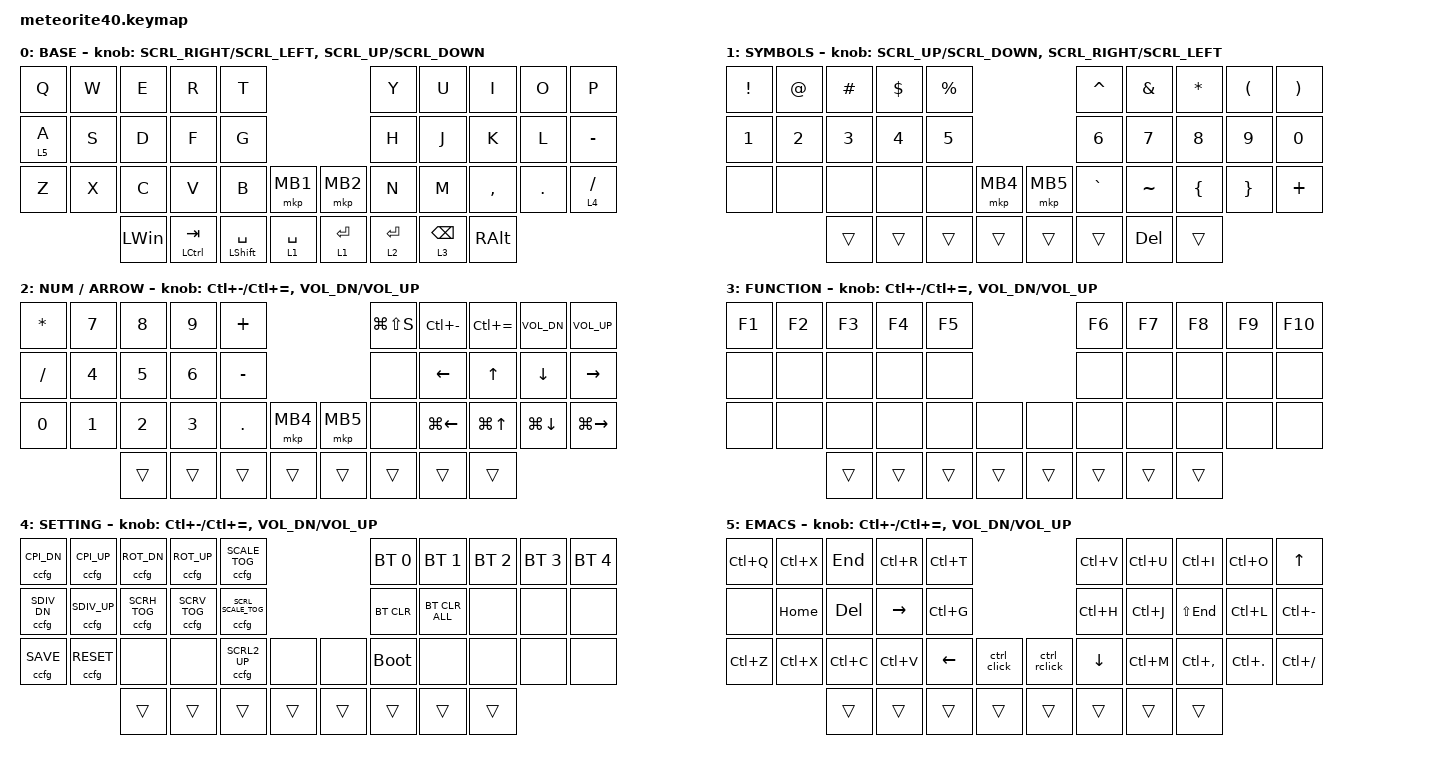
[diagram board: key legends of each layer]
#include <behaviors.dtsi>
#include <dt-bindings/zmk/bt.h>
#include <dt-bindings/zmk/keys.h>

#include <behaviors/meteorite_custom_key.dtsi>
#include <behaviors/custom_config.dtsi>
#include <behaviors/meteorite_bt_os.dtsi>
#include <behaviors/meteorite_mod_key.dtsi>
#include <behaviors/meteorite_os_key.dtsi>
#include <dt-bindings/zmk/custom_config.h>
#include <dt-bindings/zmk/meteorite_custom_keys.h>
#include <dt-bindings/zmk/meteorite_bt_os.h>

#define ZMK_POINTING_DEFAULT_SCRL_VAL 200
#include <dt-bindings/zmk/pointing.h>

&mt { 
    flavor = "tap-preferred"; // change hold to tap
    tapping-term-ms = <200>;
    quick-tap-ms = <150>; // change 200 to 150
};

&lt {
    flavor = "tap-preferred";
    tapping-term-ms = <150>; // change 200 to 150
    quick-tap-ms = <150>; // change 200 to 150
};

/ { 
    behaviors {
        mouse_scroll_var: mouse_scroll_var {
            compatible = "zmk,behavior-sensor-rotate-var";
            #sensor-binding-cells = <2>;
            bindings = <&msc>, <&msc>;
            tap-ms = <25>;
        };

        mck_mt: mck_mt {
            compatible = "zmk,behavior-hold-tap";
            #binding-cells = <2>;
            flavor = "tap-preferred";
            tapping-term-ms = <150>;
            bindings = <&mck>, <&kp>;
            display-name = "meteorite OS-Switch-mod-tap";
        };

        mck_mt_st: mck_mt_st {
            compatible = "zmk,behavior-hold-tap";
            #binding-cells = <2>;
            flavor = "tap-preferred";
            tapping-term-ms = <150>;
            bindings = <&mck>, <&alt_cmd_tab>;
            display-name = "meteorite OS-Switch-mod-tap (smart toggle)";
        };

        alt_cmd_tab: alt_cmd_tab {
            compatible = "zmk,behavior-smart-toggle";
            #binding-cells = <0>;
            display-name = "meteorite Smart toggle (Alt/Cmd+Tab)";
            bindings = <&mck M_OS_ALT_CMD>, <&kp TAB>;
            position-bindings = <12 13>; /* D, F */
            position-binding-behaviors = <&kp LS(TAB)>, <&kp TAB>;
        };
    };

    macros {
        ctrl_click: ctrl_click {
            compatible = "zmk,behavior-macro";
            #binding-cells = <0>;
            bindings = <&macro_press &kp LCTRL>, <&macro_tap &mkp MB1>, <&macro_release &kp LCTRL>;
        };
        ctrl_rclick: ctrl_rclick {
            compatible = "zmk,behavior-macro";
            #binding-cells = <0>;
            bindings = <&macro_press &kp LCTRL>, <&macro_tap &mkp MB2>, <&macro_release &kp LCTRL>;
        };
    };

    combos {
        compatible = "zmk,combos";

        lang1 {
            bindings = <&kp LANG1>;
            key-positions = <12 13>; /* D + F */
            layers = <0>;
        };

        lang2 {
            bindings = <&kp LANG2>;
            key-positions = <16 17>; /* J + K */
            layers = <0>;
        };

        esc {
            bindings = <&kp ESCAPE>;
            key-positions = <20 21>; /* Z + X */
            layers = <0>;
        };

        tab {
            bindings = <&kp TAB>;
            key-positions = <0 1>; /* Q + W */
            layers = <0>;
        };

        line_home {
            bindings = <&mosk HOME LG(LEFT)>;
            key-positions = <16 17>; /* J + K (on layer 2) */
            layers = <2>;
        };

        line_end {
            bindings = <&mosk END LG(RIGHT)>;
            key-positions = <18 19>; /* L + - (on layer 2) */
            layers = <2>;
        };

        doc_home {
            bindings = <&mosk LC(HOME) LG(UP)>;
            key-positions = <16 18>; /* J + L (on layer 2) */
            layers = <2>;
        };

        doc_end {
            bindings = <&mosk LC(END) LG(DOWN)>;
            key-positions = <17 19>; /* K + - (on layer 2) */
            layers = <2>;
        };
    };

    keymap {
        compatible = "zmk,keymap";
        layout = &LAYOUT_2U_SPACE;

        win_default_layer {
            display-name = "BASE";
            bindings = <
                &kp Q        &kp W       &kp E        &kp R        &kp T                                 &kp Y        &kp U       &kp I       &kp O  &kp P
                &lt 5 A      &kp S       &kp D        &kp F        &kp G                                 &kp H        &kp J       &kp K       &kp L  &kp MINUS
                &kp Z        &kp X       &kp C        &kp V        &kp B        &mkp MB1     &mkp MB2    &kp N        &kp M       &kp COMMA   &kp DOT  &lt 4 SLASH
                                    &kp LWIN  &mt LCTRL TAB  &mt LSHIFT SPACE  &lt 1 SPACE  &lt 1 ENTER  &lt 2 ENTER  &lt 3 BSPC  &kp RALT
            >;

            sensor-bindings =
                <&mouse_scroll_var SCRL_RIGHT SCRL_LEFT>, // RE0(左): 時計回/右スクロール、反時計回/左スクロール
                <&mouse_scroll_var SCRL_UP SCRL_DOWN>;    // RE1(右): 時計回/上スクロール、反時計回/下スクロール

                //<&inc_dec_kp LC(MINUS) LC(EQUAL)>, // RE0: ctrl + - / +,,,
                //<&inc_dec_kp C_VOL_DN C_VOL_UP>; // RE1: volume down/up
        };

        layer_1 {
            display-name = "SYMBOLS";
            bindings = <
                &kp EXCL   &kp AT    &kp HASH  &kp DLLR  &kp PRCNT                       &kp CARET  &kp AMPS   &kp ASTRK  &kp LPAR   &kp RPAR
                &kp N1     &kp N2    &kp N3    &kp N4    &kp N5                          &kp N6     &kp N7     &kp N8     &kp N9     &kp N0
                &none      &none     &none     &none     &none      &mkp MB4  &mkp MB5   &kp GRAVE  &kp TILDE  &kp LBRC   &kp RBRC   &kp PLUS
                                     &trans     &trans    &trans    &trans    &trans     &trans    &kp DEL     &trans
            >;

            sensor-bindings =
                <&mouse_scroll_var SCRL_UP SCRL_DOWN>   , // RE1(右): 時計回/上スクロール、反時計回/下スクロール
                <&mouse_scroll_var SCRL_RIGHT SCRL_LEFT>; // RE0(左): 時計回/右スクロール、反時計回/左スクロール

                //<&inc_dec_kp LC(MINUS) LC(EQUAL)>, // RE0: ctrl + - / +,,,
                //<&inc_dec_kp C_VOL_DN C_VOL_UP>; // RE1: volume down/up
        };

        layer_2 {
            display-name = "NUM / ARROW";
            bindings = <
                &kp ASTRK        &kp N7     &kp N8     &kp N9     &kp PLUS                        &kp LG(LS(S)) &kp LC(MINUS) &kp LC(EQUAL) &kp C_VOL_DN &kp C_VOL_UP
                &kp SLASH        &kp N4     &kp N5     &kp N6     &kp MINUS                       &none         &kp LEFT      &kp UP        &kp DOWN     &kp RIGHT
                &kp N0           &kp N1     &kp N2     &kp N3     &kp DOT   &mkp MB4   &mkp MB5   &none         &kp LG(LEFT)  &kp LG(UP)    &kp LG(DOWN) &kp LG(RIGHT)
                                        &trans           &trans     &trans     &trans    &trans        &trans  &trans    &trans
            >;

            sensor-bindings =
                <&inc_dec_kp LC(MINUS) LC(EQUAL)>, // RE0: ctrl + - / +,,,
                <&inc_dec_kp C_VOL_DN C_VOL_UP>; // RE1: volume down/up

        };

        layer_3 {
            display-name = "FUNCTION";
            bindings = <
                &kp F1  &kp F2  &kp F3  &kp F4  &kp F5                  &kp F6  &kp F7  &kp F8  &kp F9  &kp F10
                &none   &none   &none   &none   &none                   &none   &none   &none   &none   &none
                &none   &none   &none   &none   &none   &none   &none   &none   &none   &none    &none  &none
                                &trans  &trans  &trans  &trans  &trans  &trans  &trans  &trans
            >;

            sensor-bindings =
                <&inc_dec_kp LC(MINUS) LC(EQUAL)>, // RE0: ctrl + - / +,,,
                <&inc_dec_kp C_VOL_DN C_VOL_UP>; // RE1: volume down/up

        };
        layer_4 {
			display-name = "SETTING";
			bindings = <
				&ccfg C_CPI_DN  &ccfg C_CPI_UP  &ccfg C_ROT_DN   &ccfg C_ROT_UP   &ccfg C_SCALE_TOG                     &bt BT_SEL 0   &bt BT_SEL 1    &bt BT_SEL 2  &bt BT_SEL 3  &bt BT_SEL 4
				&ccfg C_SDIV_DN &ccfg C_SDIV_UP &ccfg C_SCRH_TOG &ccfg C_SCRV_TOG &ccfg C_SCRL_SCALE_TOG                &bt BT_CLR     &bt BT_CLR_ALL  &none         &none         &none
				&ccfg C_SAVE    &ccfg C_RESET   &none           &none             &ccfg C_SCRL2_UP        &none  &none  &bootloader    &none         &none         &none         &none
												                            &trans       &trans  &trans  &trans  &trans  &trans    &trans        &trans
			>;

            sensor-bindings =
                <&inc_dec_kp LC(MINUS) LC(EQUAL)>, // RE0: ctrl + - / +,,,
                <&inc_dec_kp C_VOL_DN C_VOL_UP>; // RE1: volume down/up
        };

        layer_5 {
            display-name = "EMACS";
            bindings = <
                &kp LC(Q)    &kp LC(X)   &kp END      &kp LC(R)    &kp LC(T)                                    &kp LC(V)    &kp LC(U)   &kp LC(I)   &kp LC(O)  &kp UP
                &none        &kp HOME    &kp DEL      &kp RIGHT    &kp LC(G)                                    &kp LC(H)    &kp LC(J)   &kp LS(END) &kp LC(L)  &kp LC(MINUS)
                &kp LC(Z)    &kp LC(X)   &kp LC(C)    &kp LC(V)    &kp LEFT     &ctrl_click  &ctrl_rclick       &kp DOWN     &kp LC(M)   &kp LC(COMMA) &kp LC(DOT) &kp LC(SLASH)
                                         &trans       &trans       &trans       &trans       &trans             &trans       &trans      &trans
            >;

            sensor-bindings =
                <&inc_dec_kp LC(MINUS) LC(EQUAL)>, // RE0: ctrl + - / +,,,
                <&inc_dec_kp C_VOL_DN C_VOL_UP>; // RE1: volume down/up

        };
    };
};
